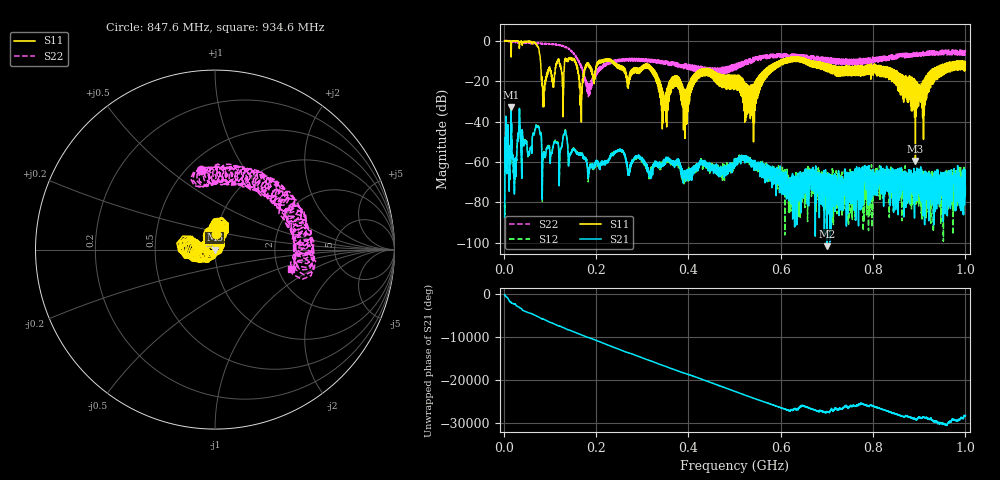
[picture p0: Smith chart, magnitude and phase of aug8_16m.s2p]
!Keysight Technologies N9923A: A.12.45
!Date: Friday, 08 August 2025 17:38:56
!Timezone: (UTC+08:00) Kuala Lumpur, Singapore
!Model: N9923A
!Serial: MY61181427
!GPS Latitude:
!GPS Longitude:
!GPS TimeStamp: 0001-01-01 00:00:00Z
!GPS Seconds Since Last Read: 0
!CHECKSUM:0531525326
!Correction: S11(ON U)S21(ON U)S12(ON U)S22(ON U)
!S2P File: Measurements:S11,S21,S12,S22:
# Hz S DB R 50
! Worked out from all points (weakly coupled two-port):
!   4001 points, 2 MHz to 1 GHz, reference 50 ohm
!   highest |S21| = -32.84 dB at 15.72 MHz (marker M1); lowest = -101.6 dB at 700.6 MHz (marker M2)
!   lowest |S11| = -59.6 dB at 891.7 MHz (marker M3), VSWR 1.00, Z = 49.9 + j0.0224 ohm
!   |S11| at or under -10 dB: 155.1 MHz to 205.9 MHz (50.88 MHz wide, 28.2 % of centre); 234.5 MHz to 597.8 MHz (363.3 MHz wide, 87.3 % of centre); 667.2 MHz to 981 MHz (313.8 MHz wide, 38.1 % of centre) (the widest 3 of 71)
!   |S22| runs from -27.7 to 0.0 dB; largest |S21 - S12| = 0.0012
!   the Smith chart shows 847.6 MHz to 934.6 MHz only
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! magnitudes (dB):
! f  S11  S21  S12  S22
! 2 MHz  -0.1  -87.2  -81.2  0.0
! 15.72 MHz  -1.7  -32.8  -32.9  -0.7
! 72.61 MHz  -2.5  -42.6  -42.3  -1.4
! 86.83 MHz  -32.7  -55.0  -55.0  -1.7
! 132.5 MHz  -9.7  -45.0  -44.4  -3.0
! 145.2 MHz  -8.5  -56.1  -55.6  -5.1
! 168.4 MHz  -35.7  -55.8  -55.9  -13.2
! 185.1 MHz  -12.6  -62.6  -64.7  -26.9
! 222.6 MHz  -9.1  -60.3  -60.2  -11.2
! 334.8 MHz  -19.4  -60.8  -61.1  -11.2
! 348.3 MHz  -33.7  -61.3  -60.5  -11.7
! 370.5 MHz  -17.4  -60.8  -61.3  -11.8
! 392.7 MHz  -48.4  -66.0  -67.1  -11.6
! 428.4 MHz  -14.1  -60.7  -60.9  -13.3
! 501 MHz  -17.0  -59.9  -60.9  -14.5
! 536.7 MHz  -22.9  -60.6  -61.5  -10.3
! 597.8 MHz  -10.0  -64.6  -65.6  -6.6
! 667.4 MHz  -10.4  -67.4  -68.0  -8.2
! 700.6 MHz  -13.2  -101.6  -73.8  -8.9
! 833.8 MHz  -18.0  -65.7  -68.9  -8.3
! 891.7 MHz  -59.6  -71.0  -72.5  -5.8
! 1 GHz  -11.7  -72.1  -65.0  -6.1
